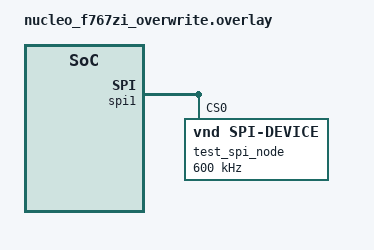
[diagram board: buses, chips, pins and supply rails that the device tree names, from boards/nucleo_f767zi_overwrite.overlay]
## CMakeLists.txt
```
# SPDX-License-Identifier: Apache-2.0

cmake_minimum_required(VERSION 3.20.0)


find_package(Zephyr REQUIRED HINTS $ENV{ZEPHYR_BASE})
project(max14916)

target_sources(app PRIVATE src/main.c)
```

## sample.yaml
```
sample:
  description:Max14916, the simplest Zephyr
    application
  name: max14916
common:
  tags: introduction
  integration_platforms:
    - native_sim
  harness: console
  harness_config:
    type: one_line
    regex:
      - "MAX14916 (.*)"
```

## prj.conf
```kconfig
# nothing here
CONFIG_GPIO=y
CONFIG_SPI=y
# DT_HAS_ADI_MAX14916_GPIO_ENABLED=y
# GPIO_MAX14916=y
CONFIG_GPIO_MAX14916=y
```

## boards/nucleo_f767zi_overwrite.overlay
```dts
// &pinctrl {
// 	custom_i2c: custom_i2c {
//                 pinctrl-names = "Over_written";
// 	};
// };
// &arduino_i2c {
// 	pinctrl-names = <&custom_i2c>;
// };

// &pinctrl {
//         custom_i2c_pins: custom_i2c_pins {
//                 pinmux = <PINMUX_I2C_SCL>, <PINMUX_I2C_SDA>;
//                 bias-pull-up;
//                 drive-strength = <3>;
//         };
// };

// &arduino_i2c {
//         pinctrl-names = "default_test2";
//         // pinctrl-0 = <&custom_i2c_pins>;
// };    

// &spi3 {
//         compatible = "adi,max14916-gpio";
// };

// / {
//         my_node {
//                 compatible = "adi,max14916-gpio";
//         };

//         label_a: node_a { /* Empty. */ };
//         label_b: node_b { /* Empty. */ };
//         node_refs {
//                 phandles = <&{/node_a} &label_b>;
//         };
// };

/* Enable SPI1 peripheral */
&spi1 {
        status = "okay";
        // pinctrl-names = "default";
        // pinctrl-0 = < &spi1_sck_pa5 &spi1_miso_pa6 &spi1_mosi_pa7 >;
        // cs-gpios = <&gpiod 10 GPIO_ACTIVE_LOW>; /* PA4 as chip select for MAX14916 */

        test_spi_node: test_spi_node@0 {
                compatible = "vnd,spi-device";
                reg = <0>;
                spi-max-frequency = <600000>;
                label = "test_spi_node";
        };

        // max14916: max14916@0 {
        //         compatible = "adi,max14916-gpio";
        //         reg = <0>; /* SPI address */
        //         spi-max-frequency = <1000000>; /* SPI clock frequency in Hz */
        //         status = "okay";

        //         // cs-gpios = <&gpioa 4 GPIO_ACTIVE_LOW>;
        //         // pinctrl-names = "default";
        //         // pinctrl-0 = < &spi1_sck_pa5 &spi1_miso_pa6 &spi1_mosi_pa7 >;

        //         #gpio-cells = <2>;
        //         ngpios = <8>;

        //         /* GPIO Pins */
        //         drdy-gpios = <&gpioa 0 GPIO_ACTIVE_LOW>; /* PA0 - DRDY */
        //         fault-gpios = <&gpiob 0 GPIO_ACTIVE_LOW>; /* PB0 - Fault */
        //         sync-gpios = <&gpioa 1 GPIO_ACTIVE_LOW>; /* PA1 - Sync */
        //         en-gpios = <&gpioa 2 GPIO_ACTIVE_HIGH>; /* PA2 - Enable */

        //         /* Device-specific configurations */
        //         // crc-en = ok; /* Enable CRC */
        //         spi-addr = <0x0>; /* SPI device address */
        //         gpio-controller;

        //         // ow-on-en = [0 0 0 0 0 0 0 0]; /* Default open-wire-on settings */
        //         // ow-off-en = [0 0 0 0 0 0 0 0]; /* Default open-wire-off settings */
        //         // sh-vdd-en = [0 0 0 0]; /* Short-to-VDD detection */
        //         // sled-set = <1>; /* Enable status LEDs */
        //         // fled-stretch = <1>; /* Set fault LED (FLED) minimum on-time */
        // };
};

// &spi3{
//         status = "okay";
//         cs-gpios = <&gpioa 4 GPIO_ACTIVE_LOW>; /* PA4 as chip select for MAX14916 */

//         max14916: max14916@1 {
//                 compatible = "adi,max14916-gpio";
//                 reg = <0>; /* SPI address */
//                 spi-max-frequency = <1000000>; /* SPI clock frequency in Hz */
//                 status = "okay";

//                 // cs-gpios = <&gpioa 4 GPIO_ACTIVE_LOW>;
//                 // pinctrl-names = "default";
//                 // pinctrl-0 = < &spi1_sck_pa5 &spi1_miso_pa6 &spi1_mosi_pa7 >;

//                 #gpio-cells = <2>;
//                 ngpios = <8>;

//                 /* GPIO Pins */
//                 drdy-gpios = <&gpioa 0 GPIO_ACTIVE_LOW>; /* PA0 - DRDY */
//                 fault-gpios = <&gpiob 0 GPIO_ACTIVE_LOW>; /* PB0 - Fault */
//                 sync-gpios = <&gpioa 1 GPIO_ACTIVE_LOW>; /* PA1 - Sync */
//                 en-gpios = <&gpioa 2 GPIO_ACTIVE_HIGH>; /* PA2 - Enable */

//                 /* Device-specific configurations */
//                 // crc-en = ok; /* Enable CRC */
//                 spi-addr = <0x0>; /* SPI device address */
//                 gpio-controller;

//                 // ow-on-en = [0 0 0 0 0 0 0 0]; /* Default open-wire-on settings */
//                 // ow-off-en = [0 0 0 0 0 0 0 0]; /* Default open-wire-off settings */
//                 // sh-vdd-en = [0 0 0 0]; /* Short-to-VDD detection */
//                 // sled-set = <1>; /* Enable status LEDs */
//                 // fled-stretch = <1>; /* Set fault LED (FLED) minimum on-time */
//         };
// };
```

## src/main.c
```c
/*
 * Copyright (c) 2012-2014 Wind River Systems, Inc.
 *
 * SPDX-License-Identifier: Apache-2.0
 */

#include <stdio.h>
#include <zephyr/kernel.h>
#include <zephyr/device.h>
#include <zephyr/devicetree.h>
#include <zephyr/drivers/sensor.h>

#include <zephyr/drivers/gpio.h>                                                                                                                                                     
#include <zephyr/drivers/spi.h>

// #include <zephyr/drivers/gpio/gpio_max14916.h>
// #define SPIOP           SPI_WORD_SET(8) | SPI_TRANSFER_MSB

// Blue led
#define LED0_NODE       DT_ALIAS(led1)

// SPI
#define SPI_OP  SPI_OP_MODE_MASTER |SPI_MODE_CPOL | SPI_MODE_CPHA | SPI_WORD_SET(8) | SPI_LINES_SINGLE

static const struct gpio_dt_spec led = GPIO_DT_SPEC_GET(LED0_NODE, gpios);

int main(void)
{
	printf("Hello World! Starting custom app %s\n", CONFIG_BOARD_TARGET);

	// const struct device *const dev = DEVICE_DT_GET_ONE(adi_max14916_gpio);

	// if (!device_is_ready(dev)) {
	// 	printk("Sensor: Device not ready.\n");
	// 	return 0;
	// }
        // else
        //         printk("Sensor: Sensor ready.\n");

        if (!device_is_ready(led.port))
                printk("Led: Blue led not ready\n");
        else
                printk("Led: Blue led is ready\n");

        int ret = gpio_pin_configure_dt(&led, GPIO_OUTPUT_ACTIVE);
        if (ret < 0)
                printk("Led: Error on blue led configuration");
        
        // while (1){
        //         ret = gpio_pin_toggle_dt(&led);
        //         if(ret < 0)
        //                 printk("Led: Blue led error\n");
        //         k_msleep(1000);
        // }

        // struct spi_dt_spec spispec = SPI_DT_SPEC_GET(DT_NODELABEL(max14916), SPIOP, 0);

        // struct spi_config sc = spispec.config;

        // printk("Slave addrs: %d\n", sc.slave);
        // printk("SPI frequency: %d\n", sc.frequency);
        // printk("SPI operating mode: %d\n", sc.operation);


        // SPI transfer test

        printk("Program: Spi init start\n\r");

        uint8_t my_buffer[4] = {0};
        uint8_t my_buffer_send[4] = {1, 2, 3, 4};
        struct spi_buf my_spi_buffer[1];
        struct spi_buf my_spi_buffer_tx[1];
        my_spi_buffer[0].buf = my_buffer;
        my_spi_buffer[0].len = 4;

        my_spi_buffer_tx[0].buf = my_buffer_send;
        my_spi_buffer_tx[0].len = 4;
        const struct spi_buf_set rx_buff = { my_spi_buffer, 1 };
        const struct spi_buf_set tx_buff = { my_spi_buffer_tx, 1 };

        const struct spi_dt_spec spi_dev =
                SPI_DT_SPEC_GET(DT_NODELABEL(test_spi_node), SPI_OP, 0);

        printk("Program: Spi read start\n\r");
        ret = spi_read_dt(&spi_dev, &rx_buff);
        if (ret) { 
                printk("Sensor: Spi_read status: %d", ret);
        }

        printk("Program: Spi write start\n\r");
        ret = spi_write_dt(&spi_dev, &tx_buff);
        if (ret) { 
                printk("Sensor: Spi_write status: %d", ret);
        }
        printk("Program: End\n\r");

	return 0;
}
```
